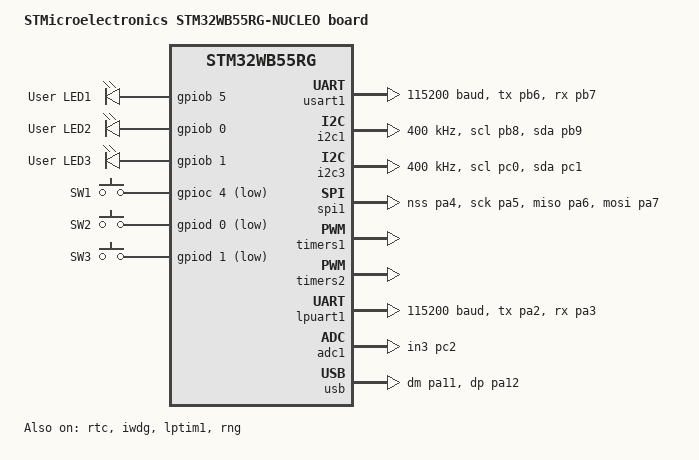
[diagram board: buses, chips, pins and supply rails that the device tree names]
/*
 * Copyright (c) 2019 Linaro Limited
 *
 * SPDX-License-Identifier: Apache-2.0
 */

/dts-v1/;
#include <st/wb/stm32wb55Xg.dtsi>
#include <st/wb/stm32wb55rgvx-pinctrl.dtsi>
#include "arduino_r3_connector.dtsi"

/ {
	model = "STMicroelectronics STM32WB55RG-NUCLEO board";
	compatible = "st,stm32wb55rg-nucleo";

	chosen {
		zephyr,console = &usart1;
		zephyr,shell-uart = &usart1;
		zephyr,bt-mon-uart = &lpuart1;
		zephyr,sram = &sram0;
		zephyr,flash = &flash0;
		zephyr,code-partition = &slot0_partition;
	};

	power-states {
		stop0: state0 {
			compatible = "zephyr,power-state";
			power-state-name = "suspend-to-idle";
			substate-id = <1>;
			min-residency-us = <100>;
		};
		stop1: state1 {
			compatible = "zephyr,power-state";
			power-state-name = "suspend-to-idle";
			substate-id = <2>;
			min-residency-us = <500>;
		};
		stop2: state2 {
			compatible = "zephyr,power-state";
			power-state-name = "suspend-to-idle";
			substate-id = <3>;
			min-residency-us = <900>;
		};
	};

	leds {
		compatible = "gpio-leds";
		blue_led_1: led_0 {
			gpios = <&gpiob 5 GPIO_ACTIVE_HIGH>;
			label = "User LED1";
		};
		green_led_2: led_1 {
			gpios = <&gpiob 0 GPIO_ACTIVE_HIGH>;
			label = "User LED2";
		};
		green_led_3: led_2 {
			gpios = <&gpiob 1 GPIO_ACTIVE_HIGH>;
			label = "User LED3";
		};
	};

	gpio_keys {
		compatible = "gpio-keys";
		user_button_1: button_0 {
			label = "SW1";
			gpios = <&gpioc 4 (GPIO_ACTIVE_LOW | GPIO_PULL_UP)>;
		};
		user_button_2: button_1 {
			label = "SW2";
			gpios = <&gpiod 0 (GPIO_ACTIVE_LOW | GPIO_PULL_UP)>;
		};
		user_button_3: button_2 {
			label = "SW3";
			gpios = <&gpiod 1 (GPIO_ACTIVE_LOW | GPIO_PULL_UP)>;
		};
	};

	aliases {
		led0 = &green_led_2;
		sw0 = &user_button_1;
		sw1 = &user_button_2;
		sw2 = &user_button_3;
	};
};

&clk_hse {
	status = "okay";
};

&clk_lse {
	status = "okay";
};

&rcc {
	clocks = <&clk_hse>;
	clock-frequency = <DT_FREQ_M(32)>;
	cpu1-prescaler = <1>;
	cpu2-prescaler = <1>;
	ahb4-prescaler = <1>;
	apb1-prescaler = <1>;
	apb2-prescaler = <1>;
};

&cpu0 {
	cpu-power-states = <&stop0 &stop1 &stop2>;
};

&usart1 {
	pinctrl-0 = <&usart1_tx_pb6 &usart1_rx_pb7>;
	pinctrl-names = "default";
	current-speed = <115200>;
	status = "okay";
};

&i2c1 {
	pinctrl-0 = <&i2c1_scl_pb8 &i2c1_sda_pb9>;
	pinctrl-names = "default";
	status = "okay";
	clock-frequency = <I2C_BITRATE_FAST>;
};

&i2c3 {
	pinctrl-0 = <&i2c3_scl_pc0 &i2c3_sda_pc1>;
	pinctrl-names = "default";
	status = "okay";
	clock-frequency = <I2C_BITRATE_FAST>;
};

&rtc {
	status = "okay";
};

&spi1 {
	pinctrl-0 = <&spi1_nss_pa4 &spi1_sck_pa5
		     &spi1_miso_pa6 &spi1_mosi_pa7>;
	pinctrl-names = "default";
	status = "okay";
};

&timers1 {
	st,prescaler = <10000>;
	status = "okay";

	pwm1: pwm {
		status = "okay";
		pinctrl-0 = <&tim1_ch1_pa8>;
		pinctrl-names = "default";
	};
};

&timers2 {
	status = "okay";
	pwm2: pwm {
		status = "okay";
		pinctrl-0 = <&tim2_ch1_pa15>;
		pinctrl-names = "default";
	};
};

&lpuart1 {
	pinctrl-0 = <&lpuart1_tx_pa2 &lpuart1_rx_pa3>;
	pinctrl-names = "default";
	current-speed = <115200>;
	status = "okay";
};

&adc1 {
	pinctrl-0 = <&adc1_in3_pc2>;
	pinctrl-names = "default";
	status = "okay";
};

&iwdg {
	status = "okay";
};

&lptim1 {
	status = "okay";
};

zephyr_udc0: &usb {
	status = "okay";
	pinctrl-0 = <&usb_dm_pa11 &usb_dp_pa12>;
	pinctrl-names = "default";
};

&rng {
	status = "okay";
};

&flash0 {
	partitions {
		compatible = "fixed-partitions";
		#address-cells = <1>;
		#size-cells = <1>;

		/*
		 * Configure partitions while leaving space for M0 BLE f/w
		 * First 794K are configured for Zephyr to run on M4 core
		 * Last 232K are left for BLE f/w on the M0 core
		 * This partition set up is compatible with use of
		 * stm32wb5x_BLE_Stack_full_fw.bin v1.13.x
		 */

		boot_partition: partition@0 {
			label = "mcuboot";
			reg = <0x00000000 DT_SIZE_K(48)>;
		};
		slot0_partition: partition@c000 {
			label = "image-0";
			reg = <0x0000c000 DT_SIZE_K(360)>;
		};
		slot1_partition: partition@66000 {
			label = "image-1";
			reg = <0x00066000 DT_SIZE_K(360)>;
		};
		scratch_partition: partition@c0000 {
			label = "image-scratch";
			reg = <0x000c0000 DT_SIZE_K(16)>;
		};
		storage_partition: partition@c4000 {
			label = "storage";
			reg = <0x000c4000 DT_SIZE_K(8)>;
		};

	};
};
